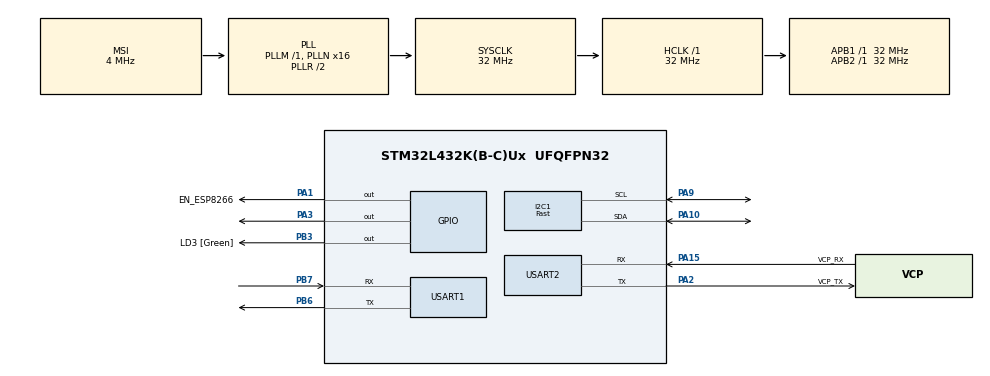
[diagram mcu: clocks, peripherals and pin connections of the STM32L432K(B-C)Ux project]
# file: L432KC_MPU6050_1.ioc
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I2C1.I2C_Speed_Mode=I2C_Fast
I2C1.Timing=0x00300F38
Mcu.Family=STM32L4
Mcu.Name=STM32L432K(B-C)Ux
Mcu.Package=UFQFPN32
NVIC.PriorityGroup=NVIC_PRIORITYGROUP_4
NVIC.TIM2_IRQn=true\:1\:0\:true\:false\:true\:true\:true\:true
NVIC.USART1_IRQn=true\:0\:0\:false\:false\:true\:true\:true\:true
PA0.GPIO_Label=MCO [High speed clock in]
PA0.Mode=HSE-External-Clock-Source-for-LittleOrca
PA0.Signal=RCC_CK_IN
PA1.GPIO_Label=EN_ESP8266
PA1.GPIO_PuPd=GPIO_PULLUP
PA1.PinState=GPIO_PIN_SET
PA1.Signal=GPIO_Output
PA10.Mode=I2C
PA10.Signal=I2C1_SDA
PA13\ (JTMS-SWDIO).GPIO_Label=SWDIO
PA13\ (JTMS-SWDIO).Mode=Serial_Wire
PA13\ (JTMS-SWDIO).Signal=SYS_JTMS-SWDIO
PA14\ (JTCK-SWCLK).GPIO_Label=SWCLK
PA14\ (JTCK-SWCLK).Mode=Serial_Wire
PA14\ (JTCK-SWCLK).Signal=SYS_JTCK-SWCLK
PA15\ (JTDI).GPIO_Label=VCP_RX
PA15\ (JTDI).Mode=Asynchronous
PA15\ (JTDI).Signal=USART2_RX
PA2.GPIO_Label=VCP_TX
PA2.Mode=Asynchronous
PA2.Signal=USART2_TX
PA3.Signal=GPIO_Output
PA9.Mode=I2C
PA9.Signal=I2C1_SCL
PB3\ (JTDO-TRACESWO).GPIO_Label=LD3 [Green]
PB3\ (JTDO-TRACESWO).Signal=GPIO_Output
PB6.Mode=Asynchronous
PB6.Signal=USART1_TX
PB7.Mode=Asynchronous
PB7.Signal=USART1_RX
PC14-OSC32_IN\ (PC14).Mode=LSE-External-Oscillator
PC14-OSC32_IN\ (PC14).Signal=RCC_OSC32_IN
PC15-OSC32_OUT\ (PC15).Mode=LSE-External-Oscillator
PC15-OSC32_OUT\ (PC15).Signal=RCC_OSC32_OUT
ProjectManager.HeapSize=0x200
ProjectManager.StackSize=0x400
ProjectManager.TargetToolchain=STM32CubeIDE
RCC.AHBFreq_Value=32000000
RCC.APB1Freq_Value=32000000
RCC.APB1TimFreq_Value=32000000
RCC.APB2Freq_Value=32000000
RCC.APB2TimFreq_Value=32000000
RCC.CortexFreq_Value=32000000
RCC.HCLKFreq_Value=32000000
RCC.HSE_VALUE=8000000
RCC.HSI16_VALUE=16000000
RCC.HSI48_VALUE=48000000
RCC.HSI_VALUE=16000000
RCC.MSI_VALUE=4000000
RCC.PLLMUL=RCC_PLLMUL_4
RCC.PLLN=16
RCC.SYSCLKFreq_VALUE=32000000
RCC.SYSCLKSource=RCC_SYSCLKSOURCE_PLLCLK
RCC.VCOOutputFreq_Value=64000000
TIM2.Period=999
TIM2.Prescaler=32
USART1.VirtualMode-Asynchronous=VM_ASYNC
USART2.VirtualMode-Asynchronous=VM_ASYNC
VP_TIM2_VS_ClockSourceINT.Mode=Internal
board=NUCLEO-L432KC

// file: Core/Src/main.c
/* USER CODE BEGIN Header */
/**
  ******************************************************************************
  * @file           : main.c
  * @brief          : Main program body
  ******************************************************************************
  * @attention
  *
  * Copyright (c) 2023 STMicroelectronics.
  * All rights reserved.
  *
  * This software is licensed under terms that can be found in the LICENSE file
  * in the root directory of this software component.
  * If no LICENSE file comes with this software, it is provided AS-IS.
  *
  ******************************************************************************
  */
/* USER CODE END Header */
#include "main.h"

/* USER CODE BEGIN Includes */
#include "mpu6050.h"
#include "defines_WIFI.h"
#include "ESP8266.h"
#include <string.h>
#include <math.h>
/* USER CODE END Includes */

I2C_HandleTypeDef hi2c1;

TIM_HandleTypeDef htim2;

UART_HandleTypeDef huart1;
UART_HandleTypeDef huart2;

/* USER CODE BEGIN PV */
MPU6050_t MPU6050;
Wifi_t	Wifi;
/* USER CODE END PV */

void SystemClock_Config(void);
static void MX_GPIO_Init(void);
static void MX_USART2_UART_Init(void);
static void MX_I2C1_Init(void);
static void MX_USART1_UART_Init(void);
static void MX_TIM2_Init(void);
/* USER CODE BEGIN PFP */
static void calibration(OFFSET_ACCEL_t * offset_accel, OFFSET_ACCEL_t * offset_gyro);
void send_data();
//function to calculate moving average
float movingAverage(float);
//used to calculate acceleration not directed on a particular axis
float module(float, float, float);
//used to process angle checks
int angleCheck(float, float);
//used to initialize global variable
void init();
//used to process raw data
void processing();

/* USER CODE END PFP */

/* USER CODE BEGIN 0 */
char string[1024]="\0";
float mAvg;
int bAngle;
//to sum on top of accelerometer measurement
#define OFFX (-0.02)
#define OFFY 0.008
#define OFFZ 0.02
#define NCAMP 50
OFFSET_ACCEL_t offset_accel;
OFFSET_ACCEL_t offset_gyro;
float mAvgBuffer[NCAMP];
int oldestBufferElement;
float sum;

#ifdef TIMING
unsigned long interval = 0;
int measures = 0;
#endif
/* USER CODE END 0 */

int main(void)
{

  /* MCU Configuration--------------------------------------------------------*/

  /* Reset of all peripherals, Initializes the Flash interface and the Systick. */
  HAL_Init();

  /* USER CODE BEGIN Init */
  init();

  /* USER CODE END Init */

  /* Configure the system clock */
  SystemClock_Config();

  /* Initialize all configured peripherals */
  MX_GPIO_Init();
  MX_USART2_UART_Init();
  MX_I2C1_Init();
  MX_USART1_UART_Init();
  MX_TIM2_Init();
  /* USER CODE BEGIN 2 */

  //int wifi comunication with ESP01S
  DWT_Delay_Init();
  Wifi_Restart();
  while(!Wifi_Init())
  {
	  while(!Wifi_Restart());
  }

  HAL_Delay(500);
  while(!Wifi_SetMode(WifiMode_Station));
  while(!Wifi_Station_ConnectToAp(SSID_W,PASSWD_W,NULL));
  HAL_Delay(500);
  Wifi_TcpIp_SetMultiConnection(1);
  Wifi_TcpIp_StartTcpConnection(0,ACCSESS_POINT_IP,PORT_AP,10);

  //initialize MPU6050

  while (MPU6050_Init(&hi2c1) == 1);

  /* USER CODE END 2 */

  /* Infinite loop */
  /* USER CODE BEGIN WHILE */

  char temp;
#ifndef TIMING
  HAL_TIM_Base_Start_IT(&htim2);
#endif
  while (1)
  {
	#ifdef TIMING
	  unsigned int tick = HAL_GetTick();
	#endif

#ifdef TIMING
	  send_data();
#else
	  HAL_Delay(500);
#endif
    /* USER CODE END WHILE */

  }
}

void SystemClock_Config(void)
{
  RCC_OscInitTypeDef RCC_OscInitStruct = {0};
  RCC_ClkInitTypeDef RCC_ClkInitStruct = {0};

  /** Configure the main internal regulator output voltage
  */
  if (HAL_PWREx_ControlVoltageScaling(PWR_REGULATOR_VOLTAGE_SCALE1) != HAL_OK)
  {
    Error_Handler();
  }

  /** Configure LSE Drive Capability
  */
  HAL_PWR_EnableBkUpAccess();
  __HAL_RCC_LSEDRIVE_CONFIG(RCC_LSEDRIVE_LOW);

  /** Initializes the RCC Oscillators according to the specified parameters
  * in the RCC_OscInitTypeDef structure.
  */
  RCC_OscInitStruct.OscillatorType = RCC_OSCILLATORTYPE_LSE|RCC_OSCILLATORTYPE_MSI;
  RCC_OscInitStruct.LSEState = RCC_LSE_ON;
  RCC_OscInitStruct.MSIState = RCC_MSI_ON;
  RCC_OscInitStruct.MSICalibrationValue = 0;
  RCC_OscInitStruct.MSIClockRange = RCC_MSIRANGE_6;
  RCC_OscInitStruct.PLL.PLLState = RCC_PLL_ON;
  RCC_OscInitStruct.PLL.PLLSource = RCC_PLLSOURCE_MSI;
  RCC_OscInitStruct.PLL.PLLM = 1;
  RCC_OscInitStruct.PLL.PLLN = 16;
  RCC_OscInitStruct.PLL.PLLP = RCC_PLLP_DIV7;
  RCC_OscInitStruct.PLL.PLLQ = RCC_PLLQ_DIV2;
  RCC_OscInitStruct.PLL.PLLR = RCC_PLLR_DIV2;
  if (HAL_RCC_OscConfig(&RCC_OscInitStruct) != HAL_OK)
  {
    Error_Handler();
  }

  /** Initializes the CPU, AHB and APB buses clocks
  */
  RCC_ClkInitStruct.ClockType = RCC_CLOCKTYPE_HCLK|RCC_CLOCKTYPE_SYSCLK
                              |RCC_CLOCKTYPE_PCLK1|RCC_CLOCKTYPE_PCLK2;
  RCC_ClkInitStruct.SYSCLKSource = RCC_SYSCLKSOURCE_PLLCLK;
  RCC_ClkInitStruct.AHBCLKDivider = RCC_SYSCLK_DIV1;
  RCC_ClkInitStruct.APB1CLKDivider = RCC_HCLK_DIV1;
  RCC_ClkInitStruct.APB2CLKDivider = RCC_HCLK_DIV1;

  if (HAL_RCC_ClockConfig(&RCC_ClkInitStruct, FLASH_LATENCY_1) != HAL_OK)
  {
    Error_Handler();
  }

  /** Enable MSI Auto calibration
  */
  HAL_RCCEx_EnableMSIPLLMode();
}

static void MX_I2C1_Init(void)
{

  hi2c1.Instance = I2C1;
  hi2c1.Init.Timing = 0x00300F38;
  hi2c1.Init.OwnAddress1 = 0;
  hi2c1.Init.AddressingMode = I2C_ADDRESSINGMODE_7BIT;
  hi2c1.Init.DualAddressMode = I2C_DUALADDRESS_DISABLE;
  hi2c1.Init.OwnAddress2 = 0;
  hi2c1.Init.OwnAddress2Masks = I2C_OA2_NOMASK;
  hi2c1.Init.GeneralCallMode = I2C_GENERALCALL_DISABLE;
  hi2c1.Init.NoStretchMode = I2C_NOSTRETCH_DISABLE;
  if (HAL_I2C_Init(&hi2c1) != HAL_OK)
  {
    Error_Handler();
  }

  /** Configure Analogue filter
  */
  if (HAL_I2CEx_ConfigAnalogFilter(&hi2c1, I2C_ANALOGFILTER_ENABLE) != HAL_OK)
  {
    Error_Handler();
  }

  /** Configure Digital filter
  */
  if (HAL_I2CEx_ConfigDigitalFilter(&hi2c1, 0) != HAL_OK)
  {
    Error_Handler();
  }

}

static void MX_TIM2_Init(void)
{

  TIM_ClockConfigTypeDef sClockSourceConfig = {0};
  TIM_MasterConfigTypeDef sMasterConfig = {0};

  htim2.Instance = TIM2;
  htim2.Init.Prescaler = 32;
  htim2.Init.CounterMode = TIM_COUNTERMODE_UP;
  htim2.Init.Period = 999;
  htim2.Init.ClockDivision = TIM_CLOCKDIVISION_DIV1;
  htim2.Init.AutoReloadPreload = TIM_AUTORELOAD_PRELOAD_DISABLE;
  if (HAL_TIM_Base_Init(&htim2) != HAL_OK)
  {
    Error_Handler();
  }
  sClockSourceConfig.ClockSource = TIM_CLOCKSOURCE_INTERNAL;
  if (HAL_TIM_ConfigClockSource(&htim2, &sClockSourceConfig) != HAL_OK)
  {
    Error_Handler();
  }
  sMasterConfig.MasterOutputTrigger = TIM_TRGO_RESET;
  sMasterConfig.MasterSlaveMode = TIM_MASTERSLAVEMODE_DISABLE;
  if (HAL_TIMEx_MasterConfigSynchronization(&htim2, &sMasterConfig) != HAL_OK)
  {
    Error_Handler();
  }

}

static void MX_USART1_UART_Init(void)
{

  huart1.Instance = USART1;
  huart1.Init.BaudRate = 115200;
  huart1.Init.WordLength = UART_WORDLENGTH_8B;
  huart1.Init.StopBits = UART_STOPBITS_1;
  huart1.Init.Parity = UART_PARITY_NONE;
  huart1.Init.Mode = UART_MODE_TX_RX;
  huart1.Init.HwFlowCtl = UART_HWCONTROL_NONE;
  huart1.Init.OverSampling = UART_OVERSAMPLING_16;
  huart1.Init.OneBitSampling = UART_ONE_BIT_SAMPLE_DISABLE;
  huart1.AdvancedInit.AdvFeatureInit = UART_ADVFEATURE_NO_INIT;
  if (HAL_UART_Init(&huart1) != HAL_OK)
  {
    Error_Handler();
  }

}

static void MX_USART2_UART_Init(void)
{

  huart2.Instance = USART2;
  huart2.Init.BaudRate = 115200;
  huart2.Init.WordLength = UART_WORDLENGTH_8B;
  huart2.Init.StopBits = UART_STOPBITS_1;
  huart2.Init.Parity = UART_PARITY_NONE;
  huart2.Init.Mode = UART_MODE_TX_RX;
  huart2.Init.HwFlowCtl = UART_HWCONTROL_NONE;
  huart2.Init.OverSampling = UART_OVERSAMPLING_16;
  huart2.Init.OneBitSampling = UART_ONE_BIT_SAMPLE_DISABLE;
  huart2.AdvancedInit.AdvFeatureInit = UART_ADVFEATURE_NO_INIT;
  if (HAL_UART_Init(&huart2) != HAL_OK)
  {
    Error_Handler();
  }

}

static void MX_GPIO_Init(void)
{
  GPIO_InitTypeDef GPIO_InitStruct = {0};

  /* GPIO Ports Clock Enable */
  __HAL_RCC_GPIOC_CLK_ENABLE();
  __HAL_RCC_GPIOA_CLK_ENABLE();
  __HAL_RCC_GPIOB_CLK_ENABLE();

  /*Configure GPIO pin Output Level */
  HAL_GPIO_WritePin(EN_ESP8266_GPIO_Port, EN_ESP8266_Pin, GPIO_PIN_SET);

  /*Configure GPIO pin Output Level */
  HAL_GPIO_WritePin(GPIOA, GPIO_PIN_3, GPIO_PIN_RESET);

  /*Configure GPIO pin Output Level */
  HAL_GPIO_WritePin(LD3_GPIO_Port, LD3_Pin, GPIO_PIN_RESET);

  /*Configure GPIO pin : EN_ESP8266_Pin */
  GPIO_InitStruct.Pin = EN_ESP8266_Pin;
  GPIO_InitStruct.Mode = GPIO_MODE_OUTPUT_PP;
  GPIO_InitStruct.Pull = GPIO_PULLUP;
  GPIO_InitStruct.Speed = GPIO_SPEED_FREQ_LOW;
  HAL_GPIO_Init(EN_ESP8266_GPIO_Port, &GPIO_InitStruct);

  /*Configure GPIO pin : PA3 */
  GPIO_InitStruct.Pin = GPIO_PIN_3;
  GPIO_InitStruct.Mode = GPIO_MODE_OUTPUT_PP;
  GPIO_InitStruct.Pull = GPIO_NOPULL;
  GPIO_InitStruct.Speed = GPIO_SPEED_FREQ_LOW;
  HAL_GPIO_Init(GPIOA, &GPIO_InitStruct);

  /*Configure GPIO pin : LD3_Pin */
  GPIO_InitStruct.Pin = LD3_Pin;
  GPIO_InitStruct.Mode = GPIO_MODE_OUTPUT_PP;
  GPIO_InitStruct.Pull = GPIO_NOPULL;
  GPIO_InitStruct.Speed = GPIO_SPEED_FREQ_LOW;
  HAL_GPIO_Init(LD3_GPIO_Port, &GPIO_InitStruct);

}

/* USER CODE BEGIN 4 */
void HAL_UART_RxCpltCallback(UART_HandleTypeDef * huart)
{
	Wifi_RxCallBack();
}

#define CALIB_CYCLES 10

void instruct_and_read(char * message, OFFSET_ACCEL_t * avg) {
	int i = 0;
	char command;

	HAL_UART_Transmit(&huart2, message, strlen(message), HAL_MAX_DELAY);
	HAL_UART_Receive(&huart2, &command, 1, HAL_MAX_DELAY);

	avg->offset_x = 0;
	avg->offset_y = 0;
	avg->offset_z = 0;

	for (i = 0; i < CALIB_CYCLES; i++) {
		MPU6050_Read_Accel(&hi2c1, &MPU6050);

		avg->offset_x += MPU6050.Ax;
		avg->offset_y += MPU6050.Ay;
		avg->offset_z += MPU6050.Az;
	}

	avg->offset_x /= CALIB_CYCLES;
	avg->offset_y /= CALIB_CYCLES;
	avg->offset_z /= CALIB_CYCLES;
}

void read_gyro(OFFSET_ACCEL_t * avg) {
	int i;
	int calib = CALIB_CYCLES * 10;
	for (int i = 0; i < calib; i++) {
		MPU6050_Read_Gyro(&hi2c1, &MPU6050);

		avg->offset_x += MPU6050.Gx;
		avg->offset_y += MPU6050.Gy;
		avg->offset_z += MPU6050.Gz;
	}

	avg->offset_x /= calib;
	avg->offset_y /= calib;
	avg->offset_z /= calib;
}

static void calibration(OFFSET_ACCEL_t * offset_accel, OFFSET_ACCEL_t * offset_gyro) {

	OFFSET_ACCEL_t positive;
	OFFSET_ACCEL_t negative;
	OFFSET_ACCEL_t avg;

	char message[] = "Press any button after each instruction to continue...\r\n";
	HAL_UART_Transmit(&huart2, message, strlen(message), HAL_MAX_DELAY);

	instruct_and_read("Keep sensor horizontal and still\r\n", &avg);
	positive.offset_z = 1.0 - avg.offset_z;

	read_gyro(&avg);
	offset_gyro->offset_x = - avg.offset_x;
	offset_gyro->offset_y = - avg.offset_y;
	offset_gyro->offset_z = - avg.offset_z;

	instruct_and_read("Keep sensor upside down\r\n", &avg);
	negative.offset_z = -1.0 - avg.offset_z;

	instruct_and_read("Orient sensor on positive x axis\r\n", &avg);
	positive.offset_x = 1.0 - avg.offset_x;
	instruct_and_read("Orient sensor on negative x axis\r\n", &avg);
	negative.offset_x = -1.0 - avg.offset_x;

	instruct_and_read("Orient sensor on positive y axis\r\n", &avg);
	positive.offset_y = 1.0 - avg.offset_y;
	instruct_and_read("Orient sensor on negative y axis\r\n", &avg);
	negative.offset_y = -1.0 - avg.offset_y;

	if (fabsf(positive.offset_x - negative.offset_x) > 0.05 ||
		fabsf(positive.offset_y - negative.offset_y) > 0.05 ||
		fabsf(positive.offset_z - negative.offset_z) > 0.05) {
		char error[] = "[WARNING] Positive and negative offsets are different!\r\n";
		HAL_UART_Transmit(&huart2, error, strlen(error), HAL_MAX_DELAY);
	}

	offset_accel->offset_x = (positive.offset_x + negative.offset_x) / 2.0;
	offset_accel->offset_y = (positive.offset_y + negative.offset_y) / 2.0;
	offset_accel->offset_z = (positive.offset_z + negative.offset_z) / 2.0;

}

float module(float acc_x, float acc_y, float acc_z){

	return sqrt(pow(acc_x+OFFX,2)+pow(acc_y+OFFY,2)+pow(acc_z+OFFZ,2));
}

int angleCheck(float roll, float pitch){
	int alarm=0;
	//check if kalman angles are in normal ranges
	if(roll<-45 || roll>45)
		alarm=1;
	else if(pitch<-45 || pitch>45)
		alarm=1;
	return alarm;
}

float movingAverage(float newValue){
	//saving the new value in the buffer
	mAvgBuffer[oldestBufferElement]=newValue;
	//update index of next oldest element
	oldestBufferElement=(oldestBufferElement+1)%NCAMP;
	//add new contributions and remove oldest contribution
	sum=sum+(newValue/NCAMP)-(mAvgBuffer[oldestBufferElement]/NCAMP);
	//return moving average
	return sum;
}

void send_data() {

	char mybuffer[100];
	if(mAvg>=2.2){
		if(bAngle){
			sprintf(mybuffer,"Possibile caduta, probabilità ALTA :%.2fg \n\r", mAvg);
			Wifi_Transmit(0, strlen(mybuffer), mybuffer);
		}
		else{
			sprintf(mybuffer,"Possibile caduta, probabilità BASSA :%.2f \n\r", mAvg);
			Wifi_Transmit(0, strlen(mybuffer), mybuffer);
		}
	}

#ifdef TIMING
	interval += (HAL_GetTick() - tick);
	if (++measures >= 100) {
		char temp[100];
		sprintf(temp, "Time: %f ms\r\n", ((double)interval) / (double) measures);
		HAL_UART_Transmit(&huart2, temp, strlen(temp), HAL_MAX_DELAY);
		measures = 0;
		interval = 0;
	}
#endif
}

void init(){
	//all elements equal to zero
	for(int i = 0; i<NCAMP; i++)
		mAvgBuffer[i]=0;
	oldestBufferElement=0;
}

void processing(){
	MPU6050_Read_All(&hi2c1, &MPU6050);

		float mod;

		mod=module(MPU6050.Ax,MPU6050.Ay,MPU6050.Az);

		bAngle=angleCheck(MPU6050.KalmanAngleX,MPU6050.KalmanAngleY);

		mAvg=movingAverage(mod);

		send_data();
}

void HAL_TIM_PeriodElapsedCallback(TIM_HandleTypeDef * htim) {
	HAL_GPIO_WritePin(GPIOA,GPIO_PIN_3, GPIO_PIN_SET);
	processing();
	HAL_GPIO_WritePin(GPIOA,GPIO_PIN_3, GPIO_PIN_RESET);
}
/* USER CODE END 4 */

void Error_Handler(void)
{
  __disable_irq();
  while (1)
  {
  }
}
